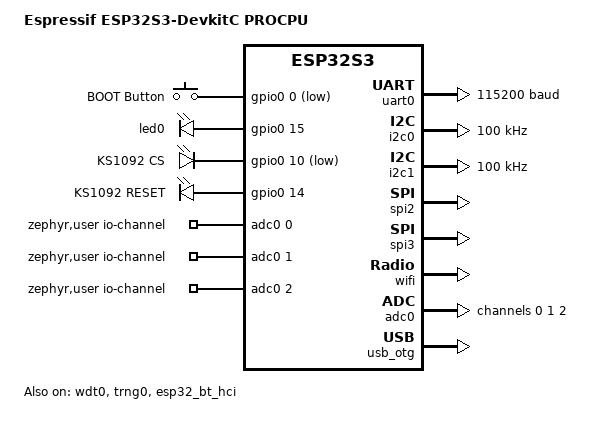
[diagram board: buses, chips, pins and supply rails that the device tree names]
/*
 * Copyright (c) 2024-2025 Espressif Systems (Shanghai) Co., Ltd.
 *
 * SPDX-License-Identifier: Apache-2.0
 */
/dts-v1/;

#include <espressif/esp32s3/esp32s3_wroom_n8.dtsi>
#include <zephyr/dt-bindings/input/input-event-codes.h>
#include <zephyr/dt-bindings/input/esp32-touch-sensor-input.h>
#include <espressif/partitions_0x0_amp.dtsi>
#include "my_esp32s3-pinctrl.dtsi"

/ {
	model = "Espressif ESP32S3-DevkitC PROCPU";
	compatible = "espressif,esp32s3";

	aliases {
		i2c-0 = &i2c0;
		watchdog0 = &wdt0;
		uart-0 = &uart0;
		sw0 = &button0;
		led0 = &led0;
		ks1092-cs = &ks1092_cs;
		ks1092-reset = &ks1092_reset;
	};

	chosen {
		zephyr,sram = &sram1;
		/*
		 * 日志输出走物理 UART0(GPIO43/44)，即板子的 UART 串口；
		 * 与上位机数据透传共用同一口（原 ESP-IDF 版即如此）。
		 * 注：诊断时插 UART 口即可看日志。
		 */
		zephyr,console = &uart0;
		zephyr,shell-uart = &uart0;
		zephyr,flash = &flash0;
		zephyr,code-partition = &slot0_partition;
		zephyr,bt-hci = &esp32_bt_hci;
	};

	buttons {
		compatible = "gpio-keys";

		button0: button_0 {
			gpios = <&gpio0 0 (GPIO_PULL_UP | GPIO_ACTIVE_LOW)>;
			label = "BOOT Button";
			zephyr,code = <INPUT_KEY_0>;
		};
	};
	leds {
		compatible = "gpio-leds";

		led0: led_0 {
			gpios = <&gpio0 15 GPIO_ACTIVE_HIGH>;
		};
	};

	/*
	 * KS1092 生物电采集芯片的板级硬件定义。
	 *   CS    = GPIO10（低电平有效，应用手动控制）
	 *   RESET = GPIO14（高电平有效）
	 */
	ks1092_gpios {
		compatible = "gpio-leds";

		ks1092_cs: ks1092_cs_0 {
			gpios = <&gpio0 10 GPIO_ACTIVE_LOW>;
			label = "KS1092 CS";
		};

		ks1092_reset: ks1092_reset_0 {
			gpios = <&gpio0 14 GPIO_ACTIVE_HIGH>;
			label = "KS1092 RESET";
		};
	};

	/*
	 * 应用取用的 ADC 通道清单（SAR ADC1 = adc0）。
	 *   idx0 = CH1 (GPIO1), idx1 = CH2 (GPIO2), idx2 = 电池 (GPIO3)
	 */
	zephyr,user {
		io-channels = <&adc0 0>, <&adc0 1>, <&adc0 2>;
	};
};

&usb_serial {
	status = "disabled";
};

&uart0 {
	status = "okay";
	current-speed = <115200>;
	pinctrl-0 = <&uart0_default>;
	pinctrl-names = "default";
};

&gpio0 {
	status = "okay";
};

&gpio1 {
	status = "okay";
};

&touch {
	debounce-interval-ms = <30>;
	href-microvolt = <2700000>;
	lref-microvolt = <500000>;
	href-atten-microvolt = <1000000>;
	filter-mode = <ESP32_TOUCH_FILTER_MODE_IIR_16>;
	filter-debounce-cnt = <1>;
	filter-noise-thr = <ESP32_TOUCH_FILTER_NOISE_THR_4_8TH>;
	filter-jitter-step = <4>;
	filter-smooth-level = <ESP32_TOUCH_FILTER_SMOOTH_MODE_IIR_2>;
};

&i2c0 {
	clock-frequency = <I2C_BITRATE_STANDARD>;
	pinctrl-0 = <&i2c0_default>;
	pinctrl-names = "default";
};

&i2c1 {
	clock-frequency = <I2C_BITRATE_STANDARD>;
	pinctrl-0 = <&i2c1_default>;
	pinctrl-names = "default";
};

&i2s0 {
	pinctrl-0 = <&i2s0_default>;
	pinctrl-names = "default";
};

&i2s1 {
	pinctrl-0 = <&i2s1_default>;
	pinctrl-names = "default";
};

&spi2 {
	#address-cells = <1>;
	#size-cells = <0>;
	status = "okay";
	pinctrl-0 = <&spim2_default>;
	pinctrl-names = "default";
};

&spi3 {
	#address-cells = <1>;
	#size-cells = <0>;
	status = "okay";
	pinctrl-0 = <&spim3_default>;
	pinctrl-names = "default";
};

&twai {
	pinctrl-0 = <&twai_default>;
	pinctrl-names = "default";
};

&timer0 {
	status = "disabled";
};

&timer1 {
	status = "disabled";
};

&timer2 {
	status = "disabled";
};

&timer3 {
	status = "disabled";
};

&wdt0 {
	status = "okay";
};

&trng0 {
	status = "okay";
};

&esp32_bt_hci {
	status = "okay";
};

&wifi {
	status = "okay";
};

/*
 * SAR ADC1（adc0）三通道，增益（衰减）与 ESP-IDF 版一致：
 *   ADC_ATTEN_DB_6  -> ADC_GAIN_1_2  （CH1/CH2 信号通道）
 *   ADC_ATTEN_DB_12 -> ADC_GAIN_1_4  （电池通道）
 */
&adc0 {
	status = "okay";
	#address-cells = <1>;
	#size-cells = <0>;

	channel@0 {
		reg = <0>;
		zephyr,gain = "ADC_GAIN_1_2";
		zephyr,reference = "ADC_REF_INTERNAL";
		zephyr,acquisition-time = <ADC_ACQ_TIME_DEFAULT>;
		zephyr,resolution = <12>;
	};

	channel@1 {
		reg = <1>;
		zephyr,gain = "ADC_GAIN_1_2";
		zephyr,reference = "ADC_REF_INTERNAL";
		zephyr,acquisition-time = <ADC_ACQ_TIME_DEFAULT>;
		zephyr,resolution = <12>;
	};

	channel@2 {
		reg = <2>;
		zephyr,gain = "ADC_GAIN_1_4";
		zephyr,reference = "ADC_REF_INTERNAL";
		zephyr,acquisition-time = <ADC_ACQ_TIME_DEFAULT>;
		zephyr,resolution = <12>;
	};
};

zephyr_udc0: &usb_otg {
	status = "okay";
};

zephyr_uhc0: &usb_otg {
	status = "okay";
};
